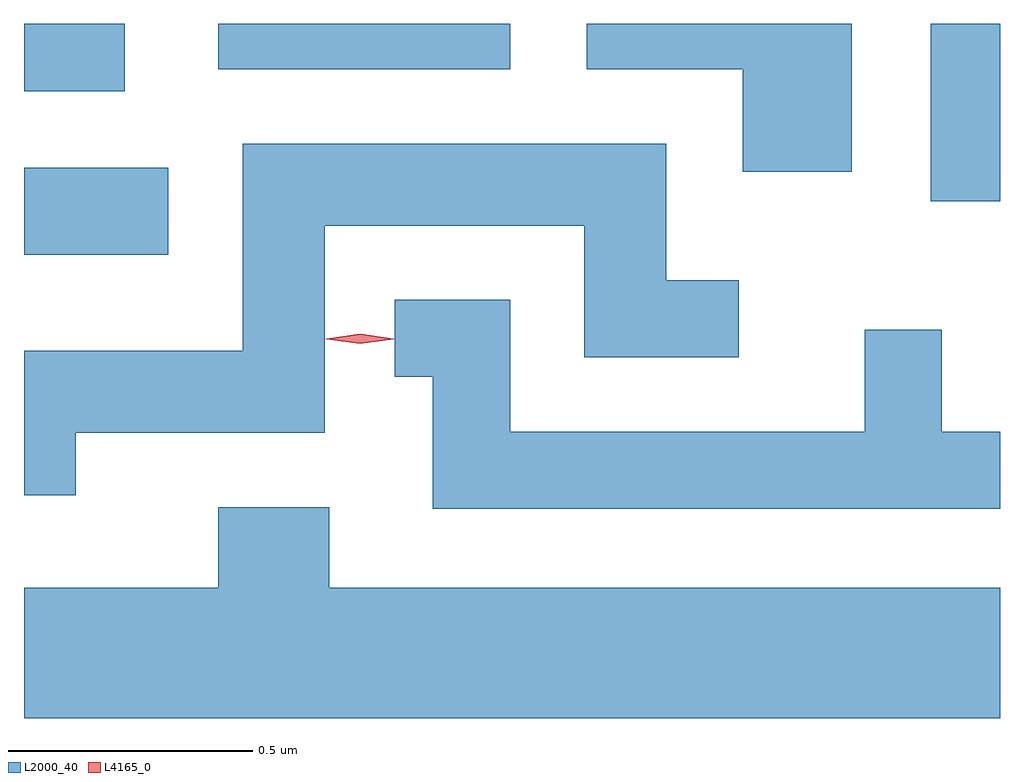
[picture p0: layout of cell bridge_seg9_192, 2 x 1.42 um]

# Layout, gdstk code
import gdstk
lib = gdstk.Library(unit=1e-6, precision=1e-09)
def R(c, l, rs):  # rectangles x0, y0, x1, y1
    for r in rs: c.add(gdstk.rectangle(r[:2], r[2:], *l))
def P(c, l, *ps):  # polygons
    for p in ps: c.add(gdstk.Polygon(p, *l))
L2000_40 = (2000, 40)
L4165_0 = (4165, 0)

bridge_seg9_192 = lib.new_cell('bridge_seg9_192')
R(bridge_seg9_192, L2000_40, [(1110.623,2074.906,1110.919,2075.084), (1112.481,2075.016,1112.623,2075.38), (1110.623,2075.241,1110.829,2075.38), (1111.021,2075.286,1111.619,2075.38)])
P(bridge_seg9_192, L2000_40, [(1112.319,2075.38),(1111.776,2075.38),(1111.776,2075.286),(1112.096,2075.286),(1112.096,2075.076),(1112.319,2075.076)],
  [(1110.729,2074.541),(1111.239,2074.541),(1111.239,2074.966),(1111.771,2074.966),(1111.771,2074.696),(1112.088,2074.696),(1112.088,2074.854),(1111.939,2074.854),(1111.939,2075.134),(1111.071,2075.134),(1111.071,2074.709),(1110.623,2074.709),(1110.623,2074.413),(1110.729,2074.413)],
  [(1112.623,2074.544),(1112.504,2074.544),(1112.504,2074.753),(1112.346,2074.753),(1112.346,2074.544),(1111.619,2074.544),(1111.619,2074.814),(1111.383,2074.814),(1111.383,2074.656),(1111.461,2074.656),(1111.461,2074.386),(1112.623,2074.386)],
  [(1112.623,2074.224),(1111.249,2074.224),(1111.249,2074.389),(1111.021,2074.389),(1111.021,2074.224),(1110.623,2074.224),(1110.623,2073.956),(1112.623,2073.956)])
P(bridge_seg9_192, L4165_0, [(1111.312,2074.724),(1111.242,2074.733),(1111.242,2074.734),(1111.242,2074.734),(1111.312,2074.744),(1111.381,2074.734),(1111.381,2074.734),(1111.381,2074.733)])

lib.write_gds('bridge_seg9_192.gds')
